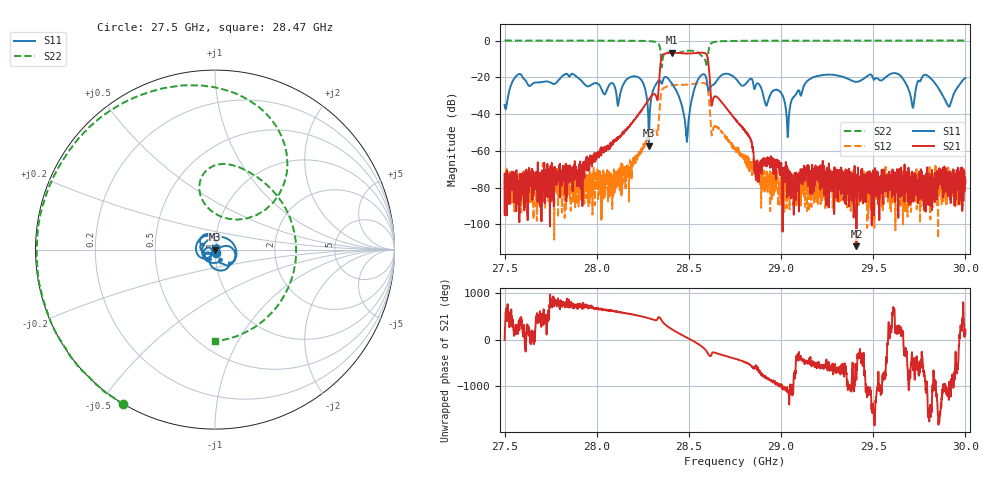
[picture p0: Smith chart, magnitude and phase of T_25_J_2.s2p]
!Keysight Technologies,N5234A,MY55441357,A.10.47.05
!Date: Sunday, November 19, 2017 13:11:22
!Correction: S11(Full 2 Port(1,2))
!S21(Full 2 Port(1,2))
!S12(Full 2 Port(1,2))
!S22(Full 2 Port(1,2))
!S2P File: Measurements: S11, S21, S12, S22:
# Hz S  dB  R 50
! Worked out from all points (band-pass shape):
!   2501 points, 27.5 GHz to 30 GHz, reference 50 ohm
!   highest |S21| = -6.52 dB at 28.41 GHz (marker M1); lowest = -111.9 dB at 29.41 GHz (marker M2)
!   |S21| within 3 dB of the highest: 28.35 GHz to 28.6 GHz (251.3 MHz wide, 0.883 % of centre)
!   lowest |S11| = -57.2 dB at 28.28 GHz (marker M3), VSWR 1.00, Z = 50.1 - j0.0723 ohm
!   |S11| at or under -10 dB: start of sweep to end of sweep
!   |S22| runs from -14.5 to 0.1 dB; largest |S21 - S12| = 0.47
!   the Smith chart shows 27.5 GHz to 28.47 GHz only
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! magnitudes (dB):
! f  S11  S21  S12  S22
! 27.5 GHz  -35.0  -72.5  -76.5  0.0
! 27.58 GHz  -18.3  -77.8  -74.6  0.0
! 27.92 GHz  -21.9  -81.1  -84.4  0.0
! 28.12 GHz  -34.6  -52.5  -70.5  -0.1
! 28.22 GHz  -19.8  -40.9  -63.2  -0.1
! 28.28 GHz  -57.2  -32.0  -52.3  -0.3
! 28.33 GHz  -22.0  -28.2  -47.5  -1.5
! 28.36 GHz  -22.1  -7.7  -26.3  -9.9
! 28.41 GHz  -23.5  -6.5  -24.3  -6.8
! 28.49 GHz  -53.5  -7.0  -24.0  -5.5
! 28.56 GHz  -19.2  -6.6  -23.1  -7.7
! 28.6 GHz  -21.8  -7.8  -24.1  -14.2
! 28.63 GHz  -24.3  -32.7  -49.2  -1.0
! 28.75 GHz  -20.3  -42.7  -58.0  -0.1
! 28.87 GHz  -23.7  -65.8  -72.2  -0.1
! 29.04 GHz  -51.8  -70.3  -79.9  0.0
! 29.17 GHz  -20.3  -71.2  -83.4  0.0
! 29.41 GHz  -22.4  -111.9  -78.8  0.0
! 29.58 GHz  -18.7  -81.5  -81.9  0.0
! 29.79 GHz  -18.9  -69.0  -81.9  0.0
! 29.91 GHz  -35.9  -77.5  -72.6  0.1
! 30 GHz  -20.4  -77.2  -81.8  0.0
